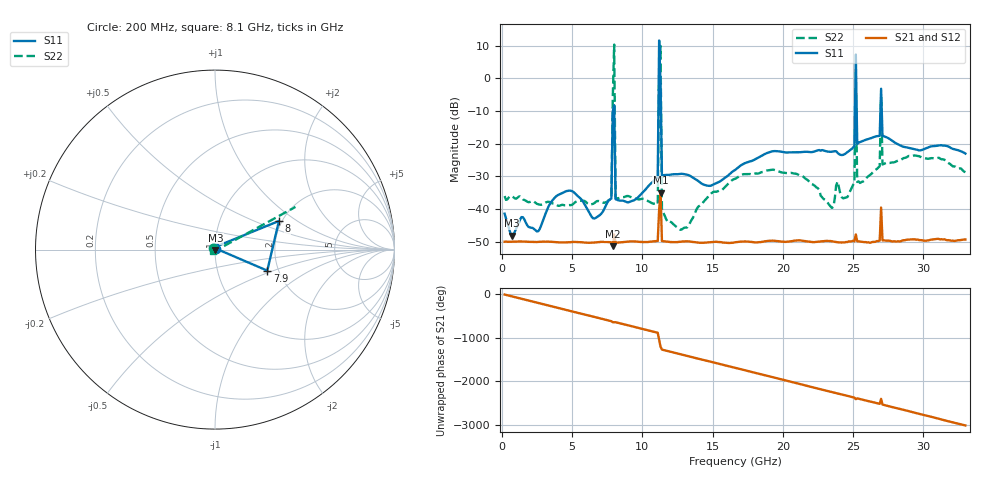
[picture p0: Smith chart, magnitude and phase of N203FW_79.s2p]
# GHZ S RI R 50
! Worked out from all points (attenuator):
!   329 points, 200 MHz to 33 GHz, reference 50 ohm
!   highest |S21| = -34.98 dB at 11.3 GHz (marker M1); lowest = -51.3 dB at 7.9 GHz (marker M2)
!   lowest |S11| = -48.2 dB at 700 MHz (marker M3), VSWR 1.01, Z = 50.2 - j0.348 ohm
!   |S11| at or under -10 dB: start of sweep to 7.903 GHz; 11.33 GHz to 25.14 GHz (13.81 GHz wide, 75.7 % of centre); 27.05 GHz to end of sweep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
!   |S22| runs from -46.3 to 10.4 dB; largest |S21 - S12| = 0.02
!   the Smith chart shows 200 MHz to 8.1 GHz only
!   S11 on the Smith chart (normalised r, x): 200 MHz: 1.01, +0.01; 7.9 GHz: 1.75, -0.45; 8 GHz: 1.93, +0.72; 8.1 GHz: 1.00, +0.03
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0.2  0.00676 0.0052  0.00305 -0.000894  0.00306 -0.000887  -0.0132 0.00884
0.7  0.00181 -0.00346  0.00178 -0.00264  0.00177 -0.00264  -0.0127 0.00949
5.7  0.00752 0.0116  -0.000449 -0.00308  -0.000465 -0.00308  0.00775 -0.0109
7.8  -0.00881 0.0115  -0.000207 0.0031  -0.000215 0.00311  -0.0081 -0.0121
7.9  0.2913 -0.1172  0.000873 0.00257  0.000863 0.00247  0.4482 0.2376
8  0.3563 0.1594  0.00135 0.00389  0.00117 0.00606  2.906 1.559
8.1  -0.00091 0.0142  0.00104 0.0029  0.00105 0.00291  -0.0104 -0.0105
11.1  0.00586 0.0302  -0.00322 -0.000529  -0.00321 -0.000526  -0.00968 0.00683
11.2  2.63 2.763  0.00882 0.00423  0.0162 0.0228  -0.7092 -0.8768
11.3  0.7596 0.2927  -0.0113 -0.0137  -0.0119 -0.0104  0.2118 3.135
11.4  0.0222 0.0236  -0.00312 0.000887  -0.00312 0.000895  -0.00687 0.00622
13.2  -0.0252 -0.0223  0.00304 0.00108  0.00304 0.00108  -0.00511 -0.0013
16.6  -0.0322 0.0231  -0.00105 0.00293  -0.00105 0.00293  -0.0286 0.00566
22.1  -0.029 -0.069  0.00284 0.00134  0.00285 0.00134  0.0211 0.0116
25.1  -0.0405 -0.0827  -0.00266 0.00183  -0.00269 0.00184  -0.0245 -0.00852
25.2  2.225 0.6589  -0.00142 0.00385  -0.00121 0.00387  0.2935 0.5175
25.3  -0.0752 -0.0653  -0.00205 0.00251  -0.00203 0.0025  -0.026 -0.00235
26.9  0.0625 0.1171  0.0033 0.000208  0.00326 0.000177  -0.0402 0.0211
27  0.4313 -0.5461  -0.005 0.00934  -0.000649 0.000892  -0.1902 0.4886
27.1  0.1003 0.0859  0.00322 -0.000761  0.00321 -0.000782  -0.0396 0.0275
27.6  0.1158 -0.0271  0.00184 -0.00272  0.00188 -0.00269  -0.0342 0.0377
33  0.0191 0.0682  -0.00225 -0.0026  -0.00225 -0.00257  0.0351 0.0111
